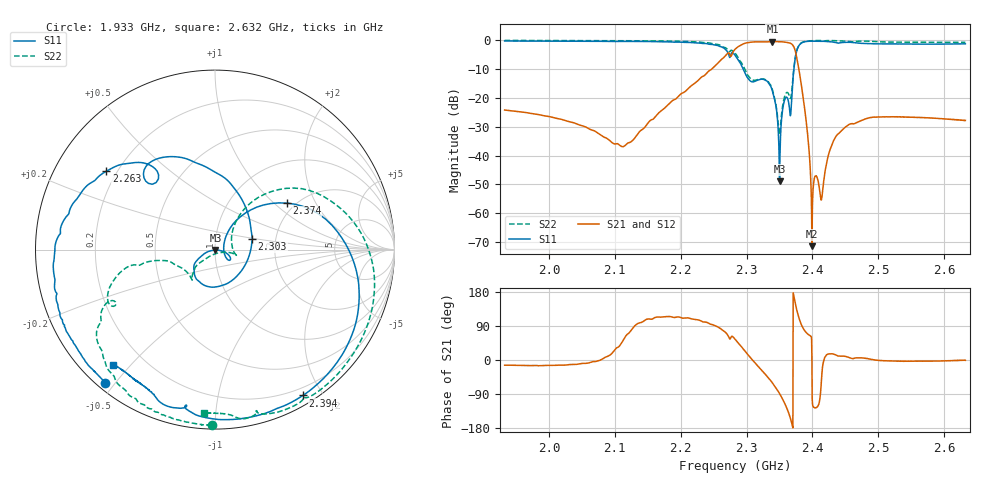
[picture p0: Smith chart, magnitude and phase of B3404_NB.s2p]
! Matrix data file written by TouchstoneData, EPCOS AG
! FILENAME: "B3404_NB.s2p"
! COMMENT: "Narrow band s-paramters"
! INFO: nport=2, nfreq=1601
! DATE: "Mon Nov 18 16:33:02 2013"
! USER: "Andy Zhang"
! port | pin | signal
!  1  |  2  |  in
!  2  |  5  |  out
# MHZ S MA R 50
! freq  magS11 angS11  magS21 angS21  magS12 angS12  magS22 angS22
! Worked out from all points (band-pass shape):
!   1601 points, 1.933 GHz to 2.632 GHz, reference 50 ohm
!   highest |S21| = -0.55 dB at 2.339 GHz (marker M1); lowest = -71.3 dB at 2.399 GHz (marker M2)
!   |S21| within 3 dB of the highest: 2.281 GHz to 2.374 GHz (92.44 MHz wide, 3.97 % of centre)
!   lowest |S11| = -48.9 dB at 2.35 GHz (marker M3), VSWR 1.01, Z = 50.2 - j0.263 ohm
!   |S11| at or under -10 dB: 2.295 GHz to 2.372 GHz (77.14 MHz wide, 3.31 % of centre)
!   |S22| runs from -32.8 to -0.2 dB; largest |S21 - S12| = 0.0033
!   S11 on the Smith chart (normalised r, x): 1.933 GHz: 0.02, -0.47; 2.263 GHz: 0.16, +0.32; 2.303 GHz: 1.51, +0.18; 2.374 GHz: 1.81, +1.21; 2.394 GHz: 0.11, -1.77; 2.632 GHz: 0.09, -0.45
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1932.5  0.9606 -129.6  0.06137 -13.8  0.06129 -13.8  0.9798 -91.1
2049.312  0.9518 -139.8  0.03304 -9.4  0.03302 -9.4  0.9749 -98.5
2112.312  0.9437 -148.7  0.01426 51.5  0.01425 51.4  0.9701 -103.9
2166.125  0.9351 -157.6  0.05409 113.4  0.05401 113.2  0.9613 -110.9
2263.25  0.7465 144.2  0.4742 79.0  0.4735 78.7  0.764 -147.2
2282.5  0.5456 109.9  0.6886 55.1  0.6879 54.9  0.5929 -162.9
2302.625  0.2144 15.8  0.8995 13.0  0.8987 12.9  0.2405 -160.0
2319.25  0.2054 -82.7  0.9274 -19.9  0.9266 -20.1  0.21 -128.3
2339.375  0.13 -147.0  0.9384 -60.6  0.9373 -60.8  0.1372 -138.9
2350.312  0.003574 -47.1  0.9344 -89.0  0.9333 -89.1  0.02322 -63.1
2357.75  0.09047 -25.0  0.9184 -113.4  0.9175 -113.5  0.1041 -12.2
2366.5  0.04898 -3.9  0.8769 -152.8  0.8759 -152.9  0.09723 8.1
2373.938  0.4763 33.0  0.6534 151.6  0.6527 151.5  0.4841 43.5
2381.375  0.8454 -18.1  0.2311 102.1  0.231 102.0  0.8526 0.6
2394.062  0.9489 -58.9  0.01633 67.1  0.01631 67.0  0.9603 -33.9
2399.312  0.9502 -68.1  0.0002712 5.1  0.0002742 0.7  0.9695 -41.7
2405.875  0.9541 -76.8  0.004481 -125.5  0.004473 -125.7  0.9759 -49.2
2414.188  0.9504 -85.3  0.001804 -43.7  0.001798 -44.1  0.9757 -56.5
2427.75  0.9312 -95.5  0.01344 16.4  0.01343 16.3  0.9751 -64.3
2446.562  0.9054 -102.5  0.02845 10.4  0.02843 10.4  0.9594 -72.6
2516.125  0.852 -119.9  0.0468 -2.4  0.04672 -2.5  0.9201 -85.7
2632.5  0.8567 -131.6  0.04061 -0.6  0.04059 -0.7  0.9106 -93.9
